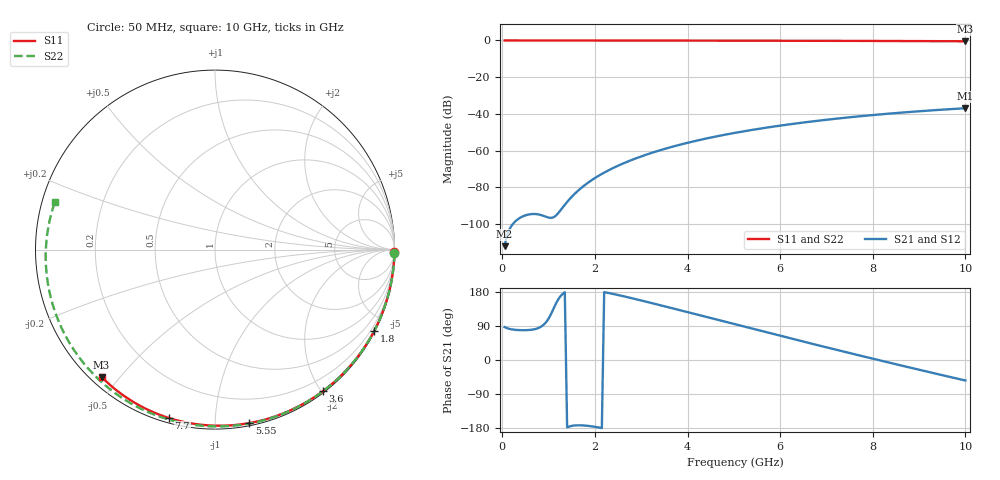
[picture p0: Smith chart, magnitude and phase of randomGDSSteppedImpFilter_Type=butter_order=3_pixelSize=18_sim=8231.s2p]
! freq	dB(S11)	phase(S11)	dB(S12)	phase(S12)
!  dB(S21)	phase(S21)	dB(S22)	phase(S22)
!S-par simulation data
#  GHz  S  DB  R 50
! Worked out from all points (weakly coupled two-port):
!   200 points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, 50 MHz to 10 GHz, reference 50 ohm
!   highest |S21| = -36.95 dB at 10 GHz (marker M1); lowest = -112.2 dB at 50 MHz (marker M2)
!   lowest |S11| = -0.4 dB at 10 GHz (marker M3), VSWR 38.96, Z = 1.54 - j22.4 ohm
!   |S11| at or under -10 dB: nowhere
!   |S22| runs from -0.6 to 0.0 dB; largest |S21 - S12| = 0
!   S11 on the Smith chart (normalised r, x): 50 MHz: open; 1.8 GHz: 0.04, -4.17; 3.6 GHz: 0.02, -2.01; 5.55 GHz: 0.02, -1.22; 7.7 GHz: 0.02, -0.76; 10 GHz: 0.03, -0.45
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0.05  -0.00 -0.8  -112.16 86.8  -112.16 86.8  -0.00 -1.1
0.45  -0.01 -6.8  -95.82 78.6  -95.82 78.6  -0.01 -9.8
0.85  -0.02 -12.9  -95.30 88.9  -95.30 88.9  -0.02 -18.5
1.25  -0.02 -18.9  -92.83 167.5  -92.83 167.5  -0.03 -27.0
1.7  -0.03 -25.5  -80.50 -172.3  -80.50 -172.3  -0.05 -36.6
1.75  -0.03 -26.3  -79.47 -172.7  -79.47 -172.7  -0.05 -37.6
1.8  -0.03 -27.0  -78.50 -173.2  -78.50 -173.2  -0.05 -38.7
2.1  -0.04 -31.4  -73.49 -178.4  -73.49 -178.4  -0.06 -44.9
2.5  -0.05 -37.2  -68.29 171.5  -68.29 171.5  -0.07 -53.1
2.9  -0.06 -42.9  -64.13 160.1  -64.13 160.1  -0.08 -61.2
3.4  -0.07 -50.0  -59.91 144.9  -59.91 144.9  -0.09 -71.2
3.6  -0.07 -52.8  -58.44 138.7  -58.44 138.7  -0.10 -75.1
4.3  -0.09 -62.4  -54.04 116.9  -54.04 116.9  -0.13 -88.5
5.05  -0.11 -72.4  -50.26 93.4  -50.26 93.4  -0.16 -102.6
5.55  -0.13 -78.8  -48.13 77.8  -48.13 77.8  -0.18 -111.7
6.1  -0.15 -85.8  -46.08 60.8  -46.08 60.8  -0.22 -121.7
6.7  -0.18 -93.3  -44.12 42.5  -44.12 42.5  -0.26 -132.6
7.7  -0.24 -105.3  -41.38 12.4  -41.38 12.4  -0.35 -150.8
8.35  -0.29 -112.9  -39.89 -6.8  -39.89 -6.8  -0.41 -163.0
9.2  -0.36 -122.7  -38.24 -31.4  -38.24 -31.4  -0.51 -179.6
9.6  -0.40 -127.2  -37.56 -42.8  -37.56 -42.8  -0.57 172.2
10  -0.45 -131.7  -36.95 -54.1  -36.95 -54.1  -0.62 163.6
